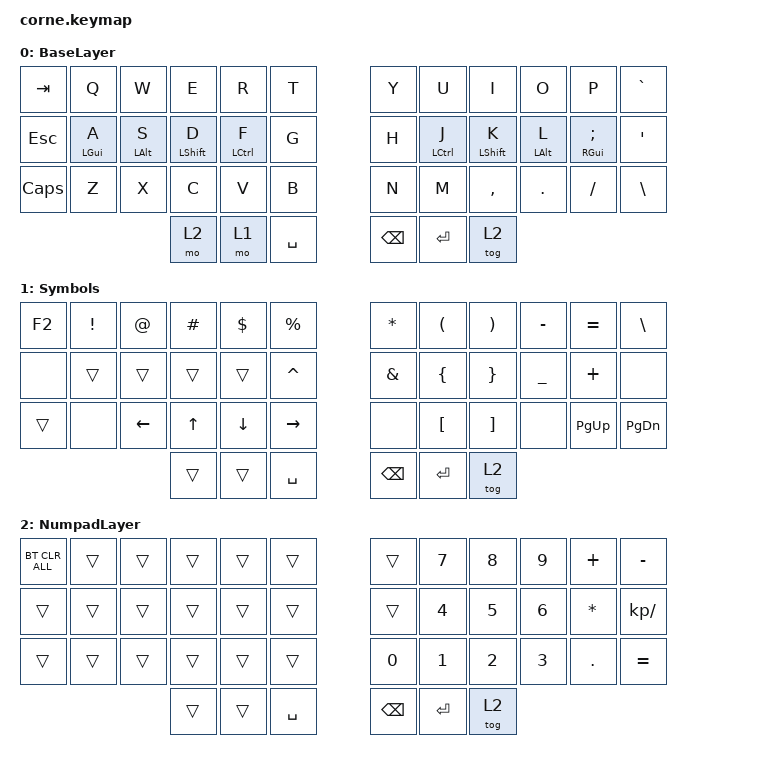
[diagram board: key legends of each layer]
/*
 * Copyright (c) 2020 The ZMK Contributors
 *
 * SPDX-License-Identifier: MIT
 */

#include <behaviors.dtsi>
#include <dt-bindings/zmk/bt.h>
#include <dt-bindings/zmk/keys.h>

/ {
    behaviors {
        homerow: homerow {
            compatible = "zmk,behavior-hold-tap";
            label = "HOMEROW";
            bindings = <&kp>, <&kp>;

            #binding-cells = <2>;
            tapping-term-ms = <300>;
            quick-tap-ms = <300>;
            require-prior-idle-ms = <300>;
            flavor = "tap-preferred";
            hold-while-undecided;
            hold-while-undecided-linger;
        };
    };

    keymap {
        compatible = "zmk,keymap";

        BaseLayer {
            // -----------------------------------------------------------------------------------------
            // |  TAB |  Q  |  W  |  E  |  R  |  T  |   |  Y  |  U   |  I  |  O  |  P  | BKSP |
            // | CTRL |  A  |  S  |  D  |  F  |  G  |   |  H  |  J   |  K  |  L  |  ;  |  '   |
            // | SHFT |  Z  |  X  |  C  |  V  |  B  |   |  N  |  M   |  ,  |  .  |  /  | ESC  |
            //                    | GUI | LWR | SPC |   | ENT | RSE  | ALT |

            bindings = <
&kp TAB       &kp Q                &kp W                &kp E                  &kp R                    &kp T        &kp Y          &kp U                    &kp I                  &kp O                &kp P                         &kp GRAVE
&kp ESCAPE    &homerow LEFT_GUI A  &homerow LEFT_ALT S  &homerow LEFT_SHIFT D  &homerow LEFT_CONTROL F  &kp G        &kp H          &homerow LEFT_CONTROL J  &homerow LEFT_SHIFT K  &homerow LEFT_ALT L  &homerow RIGHT_GUI SEMICOLON  &kp SQT
&kp CAPSLOCK  &kp Z                &kp X                &kp C                  &kp V                    &kp B        &kp N          &kp M                    &kp COMMA              &kp DOT              &kp FSLH                      &kp BACKSLASH
                                                        &mo 2                  &mo 1                    &kp SPACE    &kp BACKSPACE  &kp ENTER                &tog 2
            >;
        };

        Symbols {
            // -----------------------------------------------------------------------------------------
            // |  TAB |  1  |  2  |  3  |  4  |  5  |   |  6  |  7  |  8  |  9  |  0  | BKSP |
            // | BTCLR| BT1 | BT2 | BT3 | BT4 | BT5 |   | LFT | DWN |  UP | RGT |     |      |
            // | SHFT |     |     |     |     |     |   |     |     |     |     |     |      |
            //                    | GUI |     | SPC |   | ENT |     | ALT |

            bindings = <
&kp F2  &kp EXCL  &kp AT_SIGN  &kp HASH  &kp DOLLAR  &kp PERCENT    &kp ASTERISK   &kp LEFT_PARENTHESIS  &kp RIGHT_PARENTHESIS  &kp MINUS  &kp EQUAL    &kp BACKSLASH
&none   &trans    &trans       &trans    &trans      &kp CARET      &kp AMPERSAND  &kp LEFT_BRACE        &kp RIGHT_BRACE        &kp UNDER  &kp PLUS     &none
&trans  &none     &kp LEFT     &kp UP    &kp DOWN    &kp RIGHT      &none          &kp LEFT_BRACKET      &kp RIGHT_BRACKET      &none      &kp PAGE_UP  &kp PAGE_DOWN
                               &trans    &trans      &kp SPACE      &kp BACKSPACE  &kp ENTER             &tog 2
            >;
        };

        NumpadLayer {
            // -----------------------------------------------------------------------------------------
            // |  TAB |  !  |  @  |  #  |  $  |  %  |   |  ^  |  &  |  *  |  (  |  )  | BKSP |
            // | CTRL |     |     |     |     |     |   |  -  |  =  |  [  |  ]  |  \  |  `   |
            // | SHFT |     |     |     |     |     |   |  _  |  +  |  {  |  }  | "|" |  ~   |
            //                    | GUI |     | SPC |   | ENT |     | ALT |

            bindings = <
&bt BT_CLR_ALL  &trans  &trans  &trans  &trans  &trans       &trans         &kp N7        &kp N8        &kp N9        &kp PLUS    &kp MINUS
&trans          &trans  &trans  &trans  &trans  &trans       &trans         &kp NUMBER_4  &kp N5        &kp NUMBER_6  &kp ASTRK   &kp KP_DIVIDE
&trans          &trans  &trans  &trans  &trans  &trans       &kp NUMBER_0   &kp N1        &kp NUMBER_2  &kp NUMBER_3  &kp PERIOD  &kp EQUAL
                                &trans  &trans  &kp SPACE    &kp BACKSPACE  &kp ENTER     &tog 2
            >;
        };
    };
};
